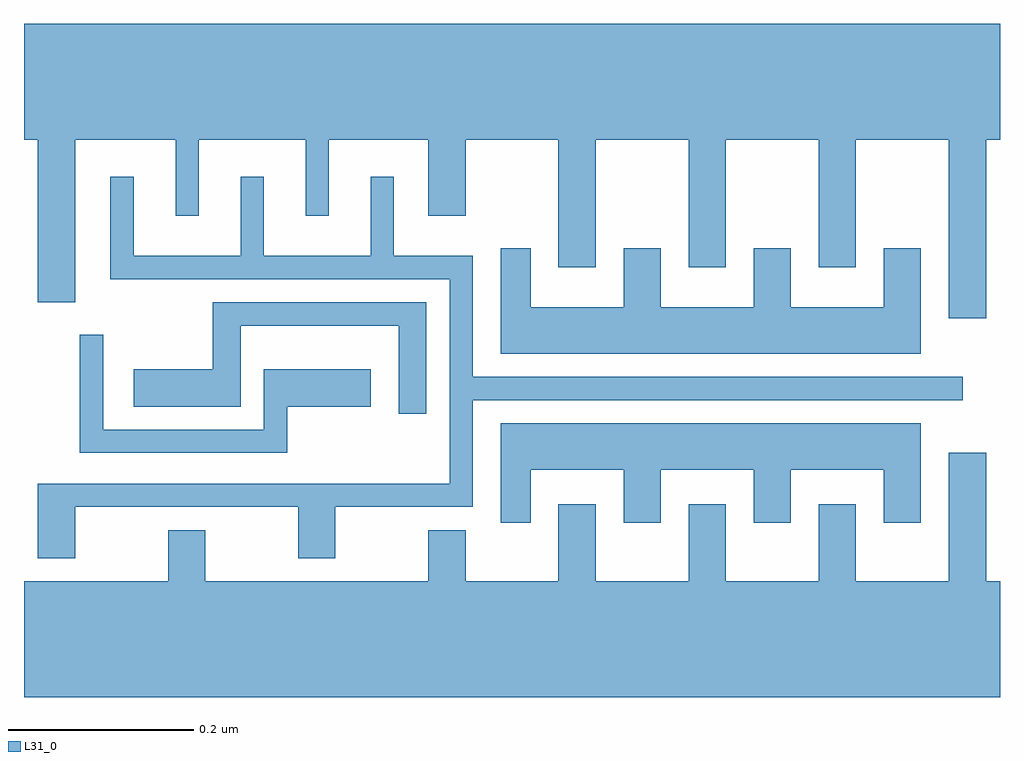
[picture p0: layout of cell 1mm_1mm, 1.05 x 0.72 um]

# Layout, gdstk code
import gdstk
lib = gdstk.Library(unit=1e-6, precision=1e-09)
def P(c, l, *ps):  # polygons
    for p in ps: c.add(gdstk.Polygon(p, *l))
L31_0 = (31, 0)

c_1mm_1mm = lib.new_cell('1mm_1mm')
P(c_1mm_1mm, L31_0, [(-308.416,661.581),(-308.416,661.661),(-307.973,661.661),(-307.973,661.881),(-308.338,661.881),(-308.338,661.991),(-308.313,661.991),(-308.313,661.906),(-308.198,661.906),(-308.198,661.991),(-308.173,661.991),(-308.173,661.906),(-308.058,661.906),(-308.058,661.991),(-308.033,661.991),(-308.033,661.906),(-307.948,661.906),(-307.948,661.776),(-307.421,661.776),(-307.421,661.751),(-307.948,661.751),(-307.948,661.636),(-308.096,661.636),(-308.096,661.581),(-308.136,661.581),(-308.136,661.636),(-308.376,661.636),(-308.376,661.581)],
  [(-307.918,661.801),(-307.918,661.914),(-307.886,661.914),(-307.886,661.851),(-307.786,661.851),(-307.786,661.914),(-307.746,661.914),(-307.746,661.851),(-307.646,661.851),(-307.646,661.914),(-307.606,661.914),(-307.606,661.851),(-307.506,661.851),(-307.506,661.914),(-307.466,661.914),(-307.466,661.801)],
  [(-307.436,661.839),(-307.436,662.031),(-307.536,662.031),(-307.536,661.894),(-307.576,661.894),(-307.576,662.031),(-307.676,662.031),(-307.676,661.894),(-307.716,661.894),(-307.716,662.031),(-307.816,662.031),(-307.816,661.894),(-307.856,661.894),(-307.856,662.031),(-307.956,662.031),(-307.956,661.949),(-307.996,661.949),(-307.996,662.031),(-308.103,662.031),(-308.103,661.949),(-308.128,661.949),(-308.128,662.031),(-308.243,662.031),(-308.243,661.949),(-308.268,661.949),(-308.268,662.031),(-308.376,662.031),(-308.376,661.856),(-308.416,661.856),(-308.416,662.031),(-308.431,662.031),(-308.431,662.156),(-307.381,662.156),(-307.381,662.031),(-307.396,662.031),(-307.396,661.839)],
  [(-308.431,661.431),(-308.431,661.556),(-308.276,661.556),(-308.276,661.611),(-308.236,661.611),(-308.236,661.556),(-307.996,661.556),(-307.996,661.611),(-307.956,661.611),(-307.956,661.556),(-307.856,661.556),(-307.856,661.639),(-307.816,661.639),(-307.816,661.556),(-307.716,661.556),(-307.716,661.639),(-307.676,661.639),(-307.676,661.556),(-307.576,661.556),(-307.576,661.639),(-307.536,661.639),(-307.536,661.556),(-307.436,661.556),(-307.436,661.694),(-307.396,661.694),(-307.396,661.556),(-307.381,661.556),(-307.381,661.431)],
  [(-308.028,661.736),(-308.028,661.831),(-308.198,661.831),(-308.198,661.744),(-308.313,661.744),(-308.313,661.784),(-308.228,661.784),(-308.228,661.856),(-307.998,661.856),(-307.998,661.736)],
  [(-307.918,661.619),(-307.918,661.726),(-307.466,661.726),(-307.466,661.619),(-307.506,661.619),(-307.506,661.676),(-307.606,661.676),(-307.606,661.619),(-307.646,661.619),(-307.646,661.676),(-307.746,661.676),(-307.746,661.619),(-307.786,661.619),(-307.786,661.676),(-307.886,661.676),(-307.886,661.619)],
  [(-308.371,661.694),(-308.371,661.821),(-308.346,661.821),(-308.346,661.719),(-308.173,661.719),(-308.173,661.784),(-308.058,661.784),(-308.058,661.744),(-308.148,661.744),(-308.148,661.694)])

lib.write_gds('1mm_1mm.gds')
